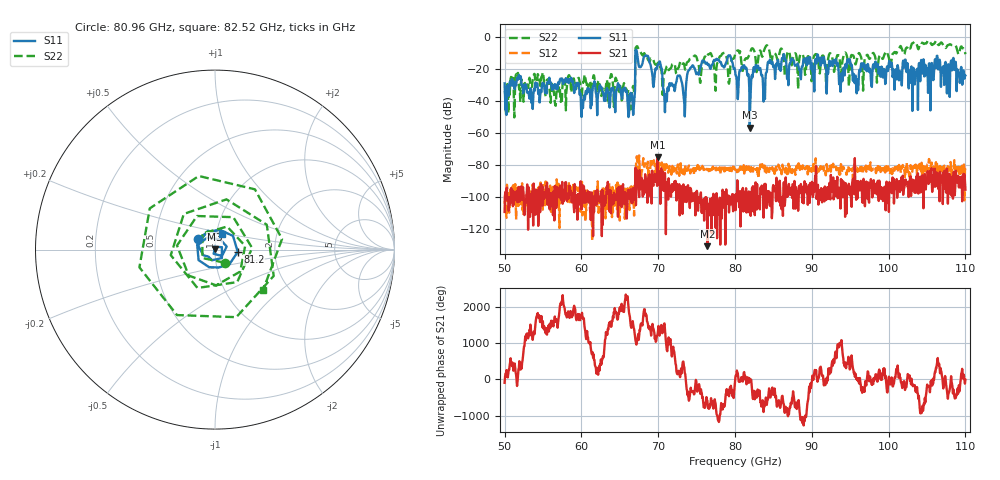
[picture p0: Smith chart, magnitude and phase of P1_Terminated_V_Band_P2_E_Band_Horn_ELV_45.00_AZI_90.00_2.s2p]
! 11/26/2026 10:34:01 AM
! C:\ANRITSUVNA\TEMP\TEMP.S2P
! CHANNEL.1
! TR.MEASUREMENT
! RAW.DATA
# HZ S RI R 50.0
! FREQ.HZ  S11RE  S11IM  S21RE  S21IM  S12RE  S12IM  S22RE  S22IM
!; PortSelection: Port_12
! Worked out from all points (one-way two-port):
!   1001 points, 50 GHz to 110 GHz, reference 50 ohm
!   highest |S21| = -75.40 dB at 69.92 GHz (marker M1); lowest = -131.0 dB at 76.4 GHz (marker M2)
!   lowest |S11| = -56.9 dB at 81.92 GHz (marker M3), VSWR 1.00, Z = 49.9 + j0.117 ohm
!   |S11| at or under -10 dB: start of sweep to 67.04 GHz; 67.24 GHz to end of sweep
!   |S22| runs from -50.5 to -2.4 dB; largest |S21 - S12| = 0.00026
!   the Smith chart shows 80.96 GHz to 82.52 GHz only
!   S11 on the Smith chart (normalised r, x): 80.96 GHz: 0.82, +0.10; 81.2 GHz: 1.29, -0.03; 82.52 GHz: 1.06, +0.19
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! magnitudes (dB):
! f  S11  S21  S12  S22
! 50 GHz  -29.2  -109.6  -104.4  -34.0
! 58.46 GHz  -26.7  -93.1  -93.6  -24.6
! 60.02 GHz  -50.2  -108.0  -96.1  -38.9
! 66.26 GHz  -39.9  -98.7  -108.4  -38.1
! 66.68 GHz  -42.8  -96.8  -104.8  -31.7
! 67.34 GHz  -13.7  -91.3  -87.8  -6.6
! 69.92 GHz  -17.8  -75.4  -79.2  -16.7
! 70.04 GHz  -17.3  -83.8  -80.3  -16.2
! 71.06 GHz  -39.0  -91.2  -79.7  -19.3
! 76.4 GHz  -16.9  -131.0  -83.3  -12.0
! 77.54 GHz  -14.1  -103.8  -83.5  -22.7
! 80 GHz  -21.0  -102.2  -83.2  -11.4
! 80.96 GHz  -19.0  -99.5  -82.6  -20.9
! 81.2 GHz  -17.9  -97.0  -85.6  -15.4
! 81.92 GHz  -56.9  -104.6  -83.9  -10.8
! 82.52 GHz  -20.5  -94.9  -82.0  -9.1
! 83.72 GHz  -40.6  -113.2  -81.5  -9.8
! 84.56 GHz  -14.3  -105.9  -82.2  -11.0
! 90.02 GHz  -16.7  -90.7  -83.8  -27.3
! 95.78 GHz  -29.2  -102.0  -82.5  -16.1
! 100 GHz  -16.3  -109.6  -83.6  -13.3
! 110 GHz  -24.3  -95.7  -83.2  -11.0
